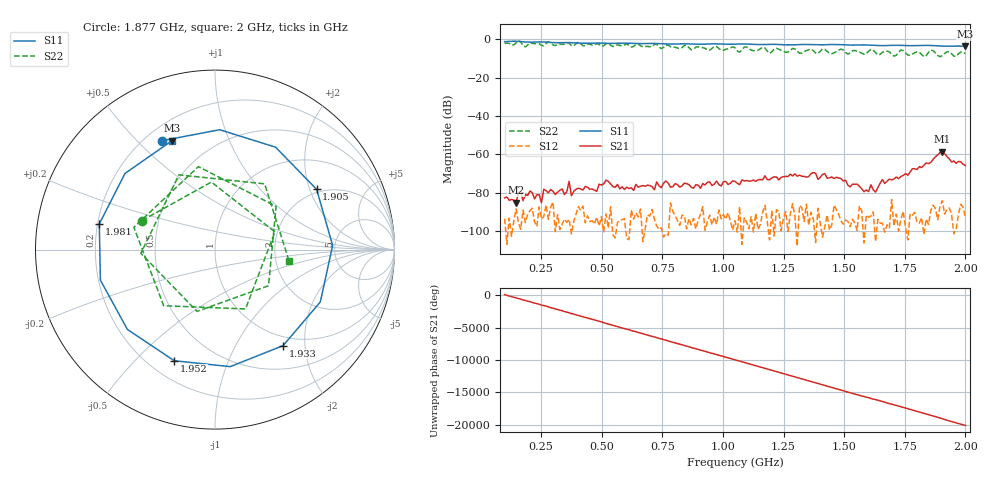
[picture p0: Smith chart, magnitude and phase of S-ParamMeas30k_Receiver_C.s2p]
!Keysight Technologies,N5242B,MY48420967,A.15.65.19
!Date: Saturday, February 04, 2023 04:14:45
!Correction: S11(C  1-Port  )
!S21(Off)
!S12(Off)
!S22(Off)
!S2P File: Measurements: S11, S21, S12, S22:
# Hz S  dB  R 50
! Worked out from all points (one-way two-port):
!   201 points, 100 MHz to 2 GHz, reference 50 ohm
!   highest |S21| = -58.72 dB at 1.905 GHz (marker M1); lowest = -85.2 dB at 147.5 MHz (marker M2)
!   lowest |S11| = -3.7 dB at 2 GHz (marker M3), VSWR 4.75, Z = 15.1 + j31.8 ohm
!   |S11| at or under -10 dB: nowhere
!   |S22| runs from -9.2 to -0.7 dB; largest |S21 - S12| = 0.0012
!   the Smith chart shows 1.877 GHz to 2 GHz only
!   S11 on the Smith chart (normalised r, x): 1.877 GHz: 0.27, +0.59; 1.905 GHz: 1.88, +2.23; 1.933 GHz: 0.85, -1.59; 1.952 GHz: 0.30, -0.66; 1.981 GHz: 0.21, +0.11; 2 GHz: 0.30, +0.64
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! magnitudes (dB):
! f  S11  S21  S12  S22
! 100 MHz  -1.3  -82.7  -93.6  -2.2
! 147.5 MHz  -1.1  -85.2  -88.5  -1.9
! 347 MHz  -1.8  -81.0  -93.8  -2.5
! 366 MHz  -1.8  -74.1  -93.9  -2.2
! 375.5 MHz  -1.8  -81.6  -101.5  -3.3
! 423 MHz  -2.1  -78.6  -87.0  -3.5
! 480 MHz  -2.0  -79.3  -92.8  -2.3
! 518 MHz  -2.1  -73.5  -91.2  -2.4
! 632 MHz  -2.2  -78.9  -93.8  -3.8
! 736.5 MHz  -2.3  -76.4  -99.1  -3.9
! 1.05 GHz  -2.6  -74.1  -94.6  -4.5
! 1.373 GHz  -2.9  -69.5  -93.8  -6.0
! 1.582 GHz  -3.0  -79.5  -106.2  -7.9
! 1.611 GHz  -3.1  -75.9  -92.2  -5.3
! 1.629 GHz  -3.3  -79.7  -105.5  -7.0
! 1.687 GHz  -3.2  -73.0  -98.4  -6.6
! 1.877 GHz  -3.4  -61.3  -88.4  -7.2
! 1.905 GHz  -3.6  -58.7  -84.3  -8.6
! 1.933 GHz  -3.7  -62.4  -88.0  -6.5
! 1.952 GHz  -3.6  -63.5  -101.5  -8.9
! 1.981 GHz  -3.6  -63.9  -86.1  -6.7
! 2 GHz  -3.7  -65.8  -92.7  -7.6
